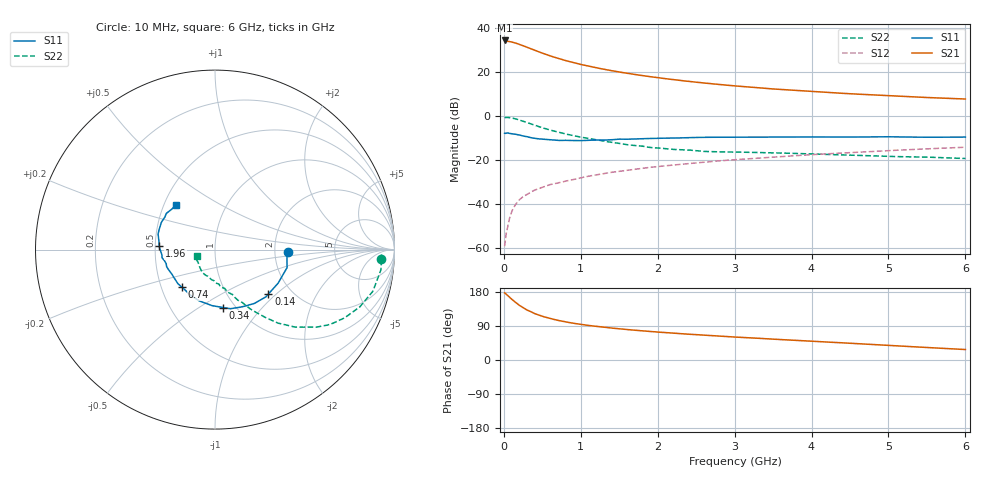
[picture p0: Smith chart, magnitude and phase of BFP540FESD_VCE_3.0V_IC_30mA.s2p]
! Infineon Technologies  Discrete & RF Semiconductors
! BFP540FESD
! VCE =  3.0 V,  IC =  30 mA
! Common Emitter S-Parameters:  Nov 2015
# GHz  S  MA  R  50
!  f  S11  S21  S12  S22
! GHz  MAG  ANG  MAG  ANG  MAG  ANG  MAG  ANG
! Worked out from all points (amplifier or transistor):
!   210 points, 10 MHz to 6 GHz, reference 50 ohm
!   highest |S21| = 34.4 dB at 10 MHz (marker M1)
!   |S21| within 3 dB of that: start of sweep to 294.4 MHz
!   unconditionally stable (mu >= 1): 1.547 GHz to end of sweep
!   at 185 MHz: K = 0.36, MSG = 35.8 dB, |S12| = -38.7 dB
!   at 1.52 GHz: K = 0.99, MSG = 22.5 dB, |S12| = -25.1 dB
!   at 6 GHz: K = 1.16, MAG = 8.5 dB, |S12| = -14.2 dB
!   S11 on the Smith chart (normalised r, x): 10 MHz: 2.36, -0.07; 140 MHz: 1.53, -0.89; 340 MHz: 0.88, -0.64; 740 MHz: 0.64, -0.29; 1.96 GHz: 0.53, +0.02; 6 GHz: 0.57, +0.32
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0.01  0.4056 -1.7  52.35 177.0  0.0011 106.1  0.924 -3.1
0.02  0.4037 -7.1  50.44 175.7  0.0016 82.9  0.9287 -1.9
0.05  0.414 -14.0  50.35 170.2  0.003 81.8  0.9315 -6.9
0.1  0.3983 -28.0  48.42 160.8  0.0066 79.6  0.9097 -14.8
0.14  0.3872 -39.8  46.49 154.1  0.009 78.1  0.8749 -20.2
0.195  0.3727 -52.6  43.16 145.3  0.0121 75.9  0.8207 -27.1
0.22  0.3629 -57.9  41.55 142.0  0.0133 74.5  0.7948 -29.8
0.3  0.3402 -75.5  36.74 132.0  0.0164 69.6  0.7127 -37.3
0.34  0.3259 -82.0  34.45 128.6  0.0181 68.9  0.6746 -39.8
0.4  0.3131 -92.6  31.28 122.5  0.0207 68.0  0.6203 -44.1
0.5  0.2991 -106.9  26.95 115.1  0.0238 67.2  0.5409 -49.3
0.6  0.2884 -118.5  23.32 109.4  0.0276 67.1  0.4803 -52.8
0.74  0.2789 -131.4  19.68 103.1  0.0312 66.5  0.4169 -56.9
0.88  0.278 -142.7  16.82 97.8  0.0353 66.6  0.366 -60.4
1.02  0.2769 -150.8  14.66 93.5  0.0401 66.0  0.3271 -63.3
1.4  0.2888 -167.9  10.77 84.3  0.0525 65.2  0.2525 -72.2
1.96  0.3115 176.2  7.613 74.4  0.0698 62.7  0.1903 -85.5
2.02  0.3134 174.4  7.373 73.4  0.0714 62.3  0.187 -87.4
3.1  0.3316 158.4  4.707 59.6  0.1044 56.7  0.1509 -111.2
4.1  0.3342 150.6  3.534 48.5  0.1355 50.6  0.136 -125.7
5.1  0.3358 142.0  2.855 37.5  0.1668 42.7  0.1198 -140.2
6  0.3326 131.0  2.439 27.6  0.1954 35.3  0.1084 -160.5
